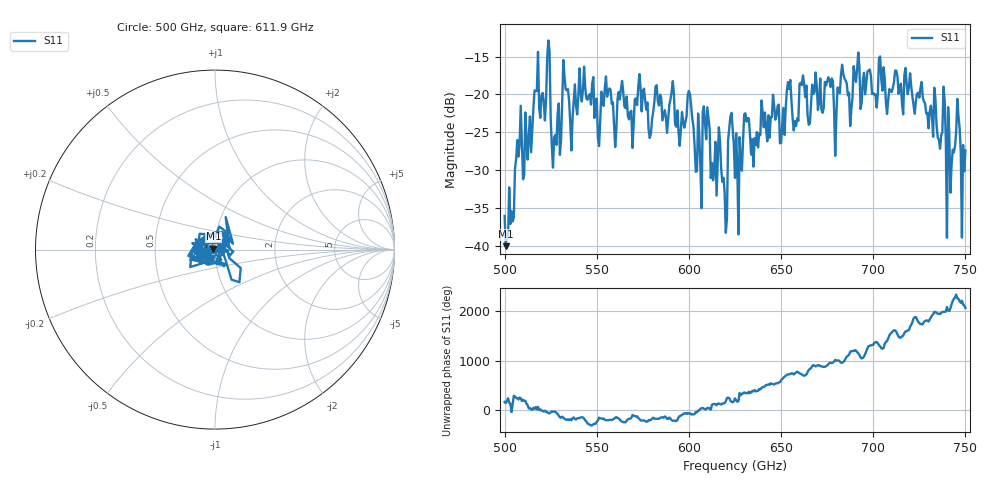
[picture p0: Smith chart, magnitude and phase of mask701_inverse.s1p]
!Created with skrf (http://scikit-rf.org).
# GHz S MA R 50.0
!freq magS11 angS11
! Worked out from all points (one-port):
!   401 points, 500 GHz to 750 GHz, reference 50 ohm
!   lowest |S11| = -40.0 dB at 500.6 GHz (marker M1), VSWR 1.02, Z = 49.2 + j0.529 ohm
!   |S11| at or under -10 dB: start of sweep to end of sweep
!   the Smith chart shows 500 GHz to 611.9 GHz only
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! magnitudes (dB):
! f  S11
! 500 GHz  -36.0
! 500.6 GHz  -40.0
! 507.5 GHz  -28.2
! 516.9 GHz  -19.5
! 523.8 GHz  -12.9
! 526.9 GHz  -25.7
! 531.2 GHz  -21.0
! 562.5 GHz  -20.7
! 579.4 GHz  -25.2
! 590.6 GHz  -19.7
! 593.8 GHz  -22.1
! 600.6 GHz  -20.0
! 605.6 GHz  -25.3
! 609.4 GHz  -25.9
! 619.4 GHz  -32.9
! 622.5 GHz  -22.9
! 625 GHz  -31.0
! 656.2 GHz  -23.1
! 676.9 GHz  -19.0
! 680 GHz  -22.8
! 683.8 GHz  -17.3
! 687.5 GHz  -24.2
! 690.6 GHz  -18.4
! 718.8 GHz  -20.0
! 738.1 GHz  -19.0
! 741.2 GHz  -25.3
! 745.6 GHz  -20.6
! 750 GHz  -27.4
